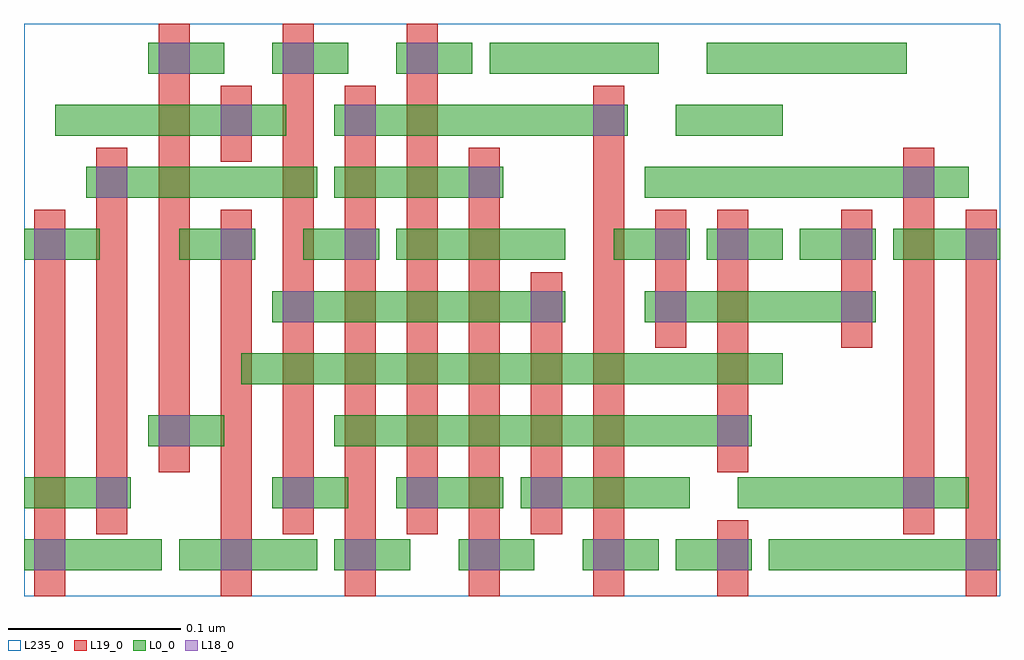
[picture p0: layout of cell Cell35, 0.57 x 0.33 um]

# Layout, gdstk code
import gdstk
lib = gdstk.Library(unit=1e-6, precision=2.5e-10)
def R(c, l, rs):  # rectangles x0, y0, x1, y1
    for r in rs: c.add(gdstk.rectangle(r[:2], r[2:], *l))
def A(c, l, x, y, w, h, nx, ny, dx, dy):  # array of equal rectangles
    R(c, l, [(x+i*dx, y+j*dy, x+i*dx+w, y+j*dy+h) for i in range(nx) for j in range(ny)])
L0_0 = (0, 0)
L18_0 = (18, 0)
L19_0 = (19, 0)
L235_0 = (235, 0)

cell35 = lib.new_cell('Cell35')
A(cell35, L0_0, 0.184, -0.001, 0.044, 0.018, 3, 1, 0.072, 0)
A(cell35, L0_0, 0.346, 0.179, 0.044, 0.018, 3, 1, 0.054, 0)
A(cell35, L0_0, 0.076, 0.287, 0.044, 0.018, 3, 1, 0.072, 0)
R(cell35, L0_0, [(0.004,-0.001,0.084,0.017), (0.094,-0.001,0.174,0.017), (0.382,-0.001,0.426,0.017), (0.436,-0.001,0.57,0.017), (0.004,0.035,0.066,0.053), (0.148,0.035,0.192,0.053), (0.22,0.035,0.282,0.053), (0.292,0.035,0.39,0.053), (0.418,0.035,0.552,0.053), (0.076,0.071,0.12,0.089), (0.184,0.071,0.426,0.089), (0.13,0.107,0.444,0.125), (0.148,0.143,0.318,0.161), (0.364,0.143,0.498,0.161), (0.004,0.179,0.048,0.197), (0.094,0.179,0.138,0.197), (0.166,0.179,0.21,0.197), (0.22,0.179,0.318,0.197), (0.508,0.179,0.57,0.197), (0.04,0.215,0.174,0.233), (0.184,0.215,0.282,0.233), (0.364,0.215,0.552,0.233), (0.022,0.251,0.156,0.269), (0.184,0.251,0.354,0.269), (0.382,0.251,0.444,0.269), (0.274,0.287,0.372,0.305), (0.4,0.287,0.516,0.305)])
A(cell35, L18_0, 0.118, -0.001, 0.018, 0.018, 5, 1, 0.072, 0)
A(cell35, L18_0, 0.154, 0.035, 0.018, 0.018, 3, 1, 0.072, 0)
A(cell35, L18_0, 0.406, 0.179, 0.018, 0.018, 3, 1, 0.072, 0)
A(cell35, L18_0, 0.082, 0.287, 0.018, 0.018, 3, 1, 0.072, 0)
R(cell35, L18_0, [(0.01,-0.001,0.028,0.017), (0.55,-0.001,0.568,0.017), (0.046,0.035,0.064,0.053), (0.514,0.035,0.532,0.053), (0.082,0.071,0.1,0.089), (0.406,0.071,0.424,0.089), (0.154,0.143,0.172,0.161), (0.298,0.143,0.316,0.161), (0.37,0.143,0.388,0.161), (0.478,0.143,0.496,0.161), (0.01,0.179,0.028,0.197), (0.118,0.179,0.136,0.197), (0.19,0.179,0.208,0.197), (0.37,0.179,0.388,0.197), (0.046,0.215,0.064,0.233), (0.262,0.215,0.28,0.233), (0.514,0.215,0.532,0.233), (0.118,0.251,0.136,0.269), (0.19,0.251,0.208,0.269), (0.334,0.251,0.352,0.269)])
R(cell35, L19_0, [(0.01,-0.016,0.028,0.208), (0.118,-0.016,0.136,0.208), (0.19,-0.016,0.208,0.28), (0.262,-0.016,0.28,0.244), (0.334,-0.016,0.352,0.28), (0.406,-0.016,0.424,0.028), (0.55,-0.016,0.568,0.208), (0.046,0.02,0.064,0.244), (0.154,0.02,0.172,0.316), (0.226,0.02,0.244,0.316), (0.298,0.02,0.316,0.172), (0.514,0.02,0.532,0.244), (0.082,0.056,0.1,0.316), (0.406,0.056,0.424,0.208), (0.37,0.128,0.388,0.208), (0.478,0.128,0.496,0.208), (0.118,0.236,0.136,0.28)])
R(cell35, L235_0, [(0.004,-0.016,0.57,0.316)])

lib.write_gds('Cell35.gds')
